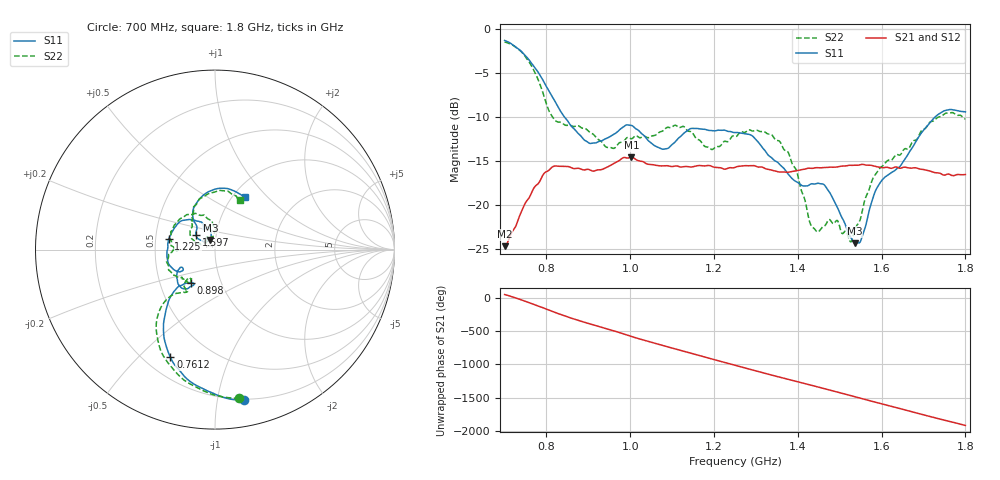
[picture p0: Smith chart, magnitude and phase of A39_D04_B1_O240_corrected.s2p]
! Created with skrf 1.9.0 (http://scikit-rf.org).
# Hz S RI R 50.0
!freq ReS11 ImS11 ReS21 ImS21 ReS12 ImS12 ReS22 ImS22
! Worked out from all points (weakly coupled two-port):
!   1601 points, 700 MHz to 1.8 GHz, reference 50 ohm
!   highest |S21| = -14.62 dB at 1.002 GHz (marker M1); lowest = -24.7 dB at 700.7 MHz (marker M2)
!   lowest |S11| = -24.4 dB at 1.536 GHz (marker M3), VSWR 1.13, Z = 47.2 + j5.15 ohm
!   |S11| at or under -10 dB: 842.1 MHz to 1.729 GHz (886.7 MHz wide, 69 % of centre)
!   |S22| runs from -24.2 to -1.5 dB; largest |S21 - S12| = 0.0033
!   S11 on the Smith chart (normalised r, x): 700 MHz: 0.19, -1.20; 761.2 MHz: 0.30, -0.63; 898 MHz: 0.72, -0.28; 1.225 GHz: 0.59, +0.08; 1.597 GHz: 0.80, +0.13; 1.8 GHz: 1.13, +0.75
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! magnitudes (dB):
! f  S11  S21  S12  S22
! 700 MHz  -1.4  -24.7  -24.5  -1.5
! 700.7 MHz  -1.4  -24.7  -24.4  -1.5
! 761.2 MHz  -3.7  -19.0  -18.9  -4.0
! 817.6 MHz  -8.0  -15.6  -15.7  -10.3
! 883.6 MHz  -12.3  -16.0  -15.9  -11.3
! 898 MHz  -12.9  -16.0  -16.0  -11.5
! 946.8 MHz  -12.4  -15.7  -15.7  -13.5
! 1.002 GHz  -11.0  -14.6  -14.7  -12.5
! 1.067 GHz  -13.5  -15.6  -15.5  -11.9
! 1.145 GHz  -11.3  -15.7  -15.7  -11.7
! 1.225 GHz  -11.5  -16.0  -15.9  -12.8
! 1.25 GHz  -11.8  -15.8  -15.7  -12.2
! 1.357 GHz  -15.4  -16.3  -16.2  -12.8
! 1.396 GHz  -17.4  -16.2  -16.1  -16.0
! 1.434 GHz  -17.6  -15.9  -15.8  -22.5
! 1.468 GHz  -18.1  -15.8  -15.8  -22.2
! 1.536 GHz  -24.4  -15.5  -15.5  -22.9
! 1.552 GHz  -23.9  -15.4  -15.5  -21.2
! 1.597 GHz  -17.5  -15.8  -15.7  -15.8
! 1.617 GHz  -16.6  -15.8  -15.8  -15.0
! 1.732 GHz  -9.9  -16.4  -16.4  -10.2
! 1.8 GHz  -9.5  -16.6  -16.6  -10.3
